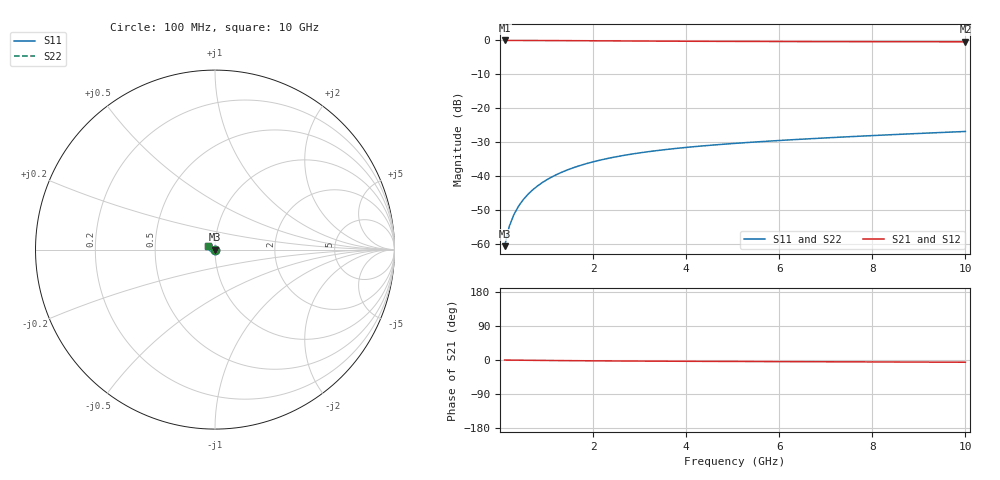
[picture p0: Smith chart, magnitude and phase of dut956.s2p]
! Touchstone file exported from HFSS 2024.1.0
!  File:  C:/UserFiles/LocalFiles/RDL_TSV_Batchsim/temp_TSV1_956_1779949711.aedt
!  Generated:  02:36:32 PM May 28, 2026
!  Design:  TSV1
!  Project:  temp_TSV1_956_1779949711
!  Setup:  Setup1
!  Solution:  Sweep
! Variables:
!  dtsv = 7.71um
!  hbump = 3um
!  htsv = 88.51um
!  lrdl = 252.1521522um
!  p = 40
!  p1 = 57.09um
!  t = 500um
!  trdl = 3um
!  wrdl = 24.89489489um
# GHz S MA R 50.000000
! Terminal data exported
! Port[1] = TSV22_T1
! Port[2] = TSV22_T2
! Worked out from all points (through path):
!   100 points, 100 MHz to 10 GHz, reference 50 ohm
!   highest |S21| = 0.00 dB at 100 MHz (marker M1); lowest = -0.4 dB at 10 GHz (marker M2)
!   lowest |S11| = -60.5 dB at 100 MHz (marker M3), VSWR 1.00, Z = 50 - j0.0915 ohm
!   |S11| at or under -10 dB: start of sweep to end of sweep
!   |S22| runs from -60.5 to -26.8 dB; largest |S21 - S12| = 1.1e-14
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0.1  0.0009411 -76.3  0.9997 -0.1  0.9997 -0.1  0.0009411 -76.3
! Gamma 0 0 0 0
! Port Impedance 50 0 50 0
0.2  0.001841 -86.3  0.9996 -0.3  0.9996 -0.3  0.001841 -86.3
0.3  0.002746 -91.2  0.9994 -0.4  0.9994 -0.4  0.002746 -91.2
0.4  0.003649 -94.7  0.9991 -0.5  0.9991 -0.5  0.003649 -94.7
0.5  0.004545 -97.7  0.9988 -0.6  0.9988 -0.6  0.004545 -97.7
0.6  0.005433 -100.5  0.9984 -0.7  0.9984 -0.7  0.005433 -100.5
0.7  0.006311 -103.0  0.998 -0.9  0.998 -0.9  0.006311 -103.0
0.8  0.007178 -105.5  0.9975 -1.0  0.9975 -1.0  0.007178 -105.5
0.9  0.008032 -107.8  0.9969 -1.1  0.9969 -1.1  0.008032 -107.8
1.1  0.009698 -112.3  0.9957 -1.3  0.9957 -1.3  0.009698 -112.3
1.4  0.01208 -118.8  0.9936 -1.6  0.9936 -1.6  0.01208 -118.8
1.6  0.01358 -122.8  0.992 -1.8  0.992 -1.8  0.01358 -122.8
1.8  0.01501 -126.8  0.9903 -2.0  0.9903 -2.0  0.01501 -126.8
2.1  0.01702 -132.4  0.9878 -2.2  0.9878 -2.2  0.01702 -132.4
2.5  0.01946 -139.4  0.9845 -2.5  0.9845 -2.5  0.01946 -139.4
2.9  0.02166 -145.9  0.9812 -2.8  0.9812 -2.8  0.02166 -145.9
3.4  0.0241 -153.3  0.9775 -3.1  0.9775 -3.1  0.0241 -153.3
4.2  0.02749 -163.8  0.9724 -3.5  0.9724 -3.5  0.02749 -163.8
5.1  0.03078 -174.0  0.9678 -3.9  0.9678 -3.9  0.03078 -174.0
6.7  0.03592 171.4  0.962 -4.5  0.962 -4.5  0.03592 171.4
8.4  0.04104 159.3  0.958 -5.2  0.958 -5.2  0.04104 159.3
10  0.0458 150.1  0.9554 -5.9  0.9554 -5.9  0.0458 150.1
